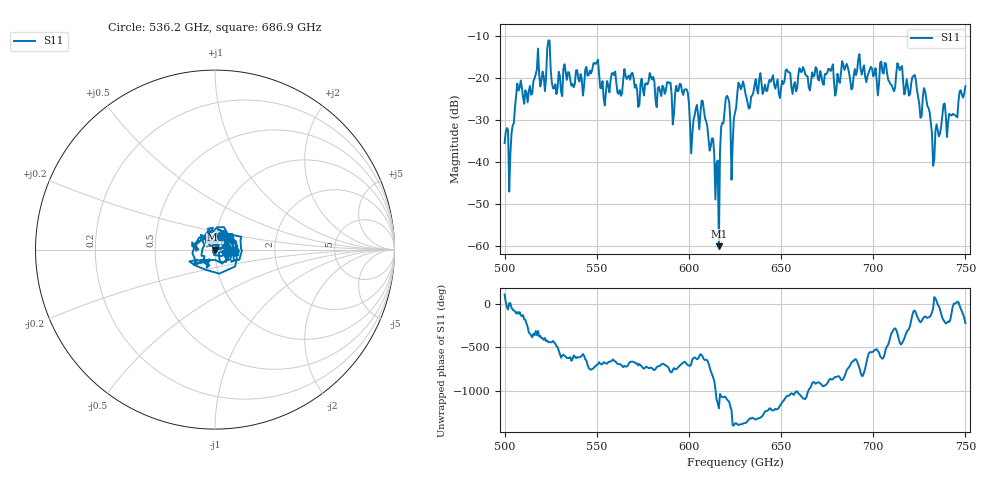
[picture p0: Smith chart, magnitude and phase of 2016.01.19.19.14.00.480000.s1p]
!Created with skrf (http://scikit-rf.org).
# GHz S RI R 50.0
!freq ReS11 ImS11
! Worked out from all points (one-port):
!   401 points, 500 GHz to 750 GHz, reference 50 ohm
!   lowest |S11| = -60.0 dB at 616.2 GHz (marker M1), VSWR 1.00, Z = 50 - j0.0874 ohm
!   |S11| at or under -10 dB: start of sweep to end of sweep
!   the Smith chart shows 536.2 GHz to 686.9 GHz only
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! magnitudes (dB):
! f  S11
! 500 GHz  -35.5
! 503.8 GHz  -33.2
! 507.5 GHz  -23.0
! 520.6 GHz  -18.5
! 523.8 GHz  -11.2
! 526.9 GHz  -22.6
! 531.2 GHz  -24.4
! 549.4 GHz  -16.8
! 553.1 GHz  -20.8
! 562.5 GHz  -22.9
! 593.8 GHz  -23.2
! 598.8 GHz  -22.8
! 601.9 GHz  -33.2
! 608.1 GHz  -27.7
! 615 GHz  -40.4
! 616.2 GHz  -60.0
! 620.6 GHz  -24.3
! 623.8 GHz  -35.6
! 625 GHz  -28.4
! 628.1 GHz  -22.8
! 656.2 GHz  -23.9
! 687.5 GHz  -20.5
! 710.6 GHz  -22.5
! 714.4 GHz  -18.2
! 718.8 GHz  -22.0
! 728.8 GHz  -24.9
! 733.1 GHz  -39.3
! 750 GHz  -22.0
